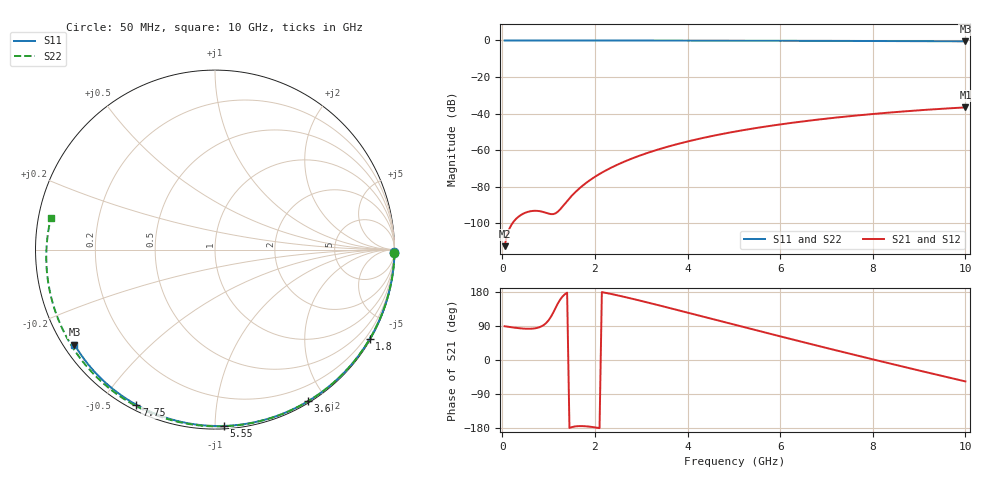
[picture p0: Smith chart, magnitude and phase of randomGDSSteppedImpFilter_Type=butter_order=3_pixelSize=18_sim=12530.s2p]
! freq	dB(S11)	phase(S11)	dB(S12)	phase(S12)
!  dB(S21)	phase(S21)	dB(S22)	phase(S22)
!S-par simulation data
#  GHz  S  DB  R 50
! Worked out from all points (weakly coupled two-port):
!   200 points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, 50 MHz to 10 GHz, reference 50 ohm
!   highest |S21| = -36.58 dB at 10 GHz (marker M1); lowest = -112.4 dB at 50 MHz (marker M2)
!   lowest |S11| = -0.5 dB at 10 GHz (marker M3), VSWR 35.25, Z = 1.55 - j15.3 ohm
!   |S11| at or under -10 dB: nowhere
!   |S22| runs from -0.6 to 0.0 dB; largest |S21 - S12| = 0
!   S11 on the Smith chart (normalised r, x): 50 MHz: open; 1.8 GHz: 0.03, -3.73; 3.6 GHz: 0.02, -1.79; 5.55 GHz: 0.02, -1.05; 7.75 GHz: 0.02, -0.61; 10 GHz: 0.03, -0.31
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0.05  -0.00 -0.8  -112.40 89.1  -112.40 89.1  -0.00 -1.1
0.45  -0.01 -7.6  -94.67 83.0  -94.67 83.0  -0.01 -9.5
0.85  -0.02 -14.3  -93.49 89.0  -93.49 89.0  -0.02 -17.8
1.25  -0.03 -21.0  -92.27 159.5  -92.27 159.5  -0.03 -26.0
1.7  -0.04 -28.4  -80.07 -174.4  -80.07 -174.4  -0.04 -35.2
1.75  -0.04 -29.2  -79.02 -174.6  -79.02 -174.6  -0.05 -36.2
1.8  -0.04 -30.0  -78.04 -174.9  -78.04 -174.9  -0.05 -37.2
2.1  -0.04 -34.9  -72.95 -179.8  -72.95 -179.8  -0.06 -43.3
2.5  -0.05 -41.3  -67.71 170.3  -67.71 170.3  -0.07 -51.2
2.9  -0.06 -47.6  -63.55 158.9  -63.55 158.9  -0.08 -59.0
3.4  -0.07 -55.4  -59.32 143.7  -59.32 143.7  -0.09 -68.6
3.6  -0.08 -58.5  -57.85 137.6  -57.85 137.6  -0.10 -72.4
4.3  -0.10 -69.0  -53.45 115.6  -53.45 115.6  -0.12 -85.5
5.05  -0.12 -80.0  -49.68 92.0  -49.68 92.0  -0.15 -99.1
5.55  -0.14 -87.1  -47.57 76.4  -47.57 76.4  -0.18 -108.0
6.1  -0.17 -94.7  -45.53 59.3  -45.53 59.3  -0.21 -117.7
6.7  -0.20 -102.9  -43.59 40.9  -43.59 40.9  -0.25 -128.3
7.75  -0.27 -116.8  -40.76 9.2  -40.76 9.2  -0.34 -147.0
8.35  -0.32 -124.6  -39.42 -8.7  -39.42 -8.7  -0.41 -158.0
9.2  -0.40 -135.6  -37.81 -33.5  -37.81 -33.5  -0.51 -174.4
9.6  -0.45 -140.8  -37.16 -45.1  -37.16 -45.1  -0.56 177.5
10  -0.49 -146.0  -36.58 -56.5  -36.58 -56.5  -0.62 169.0
